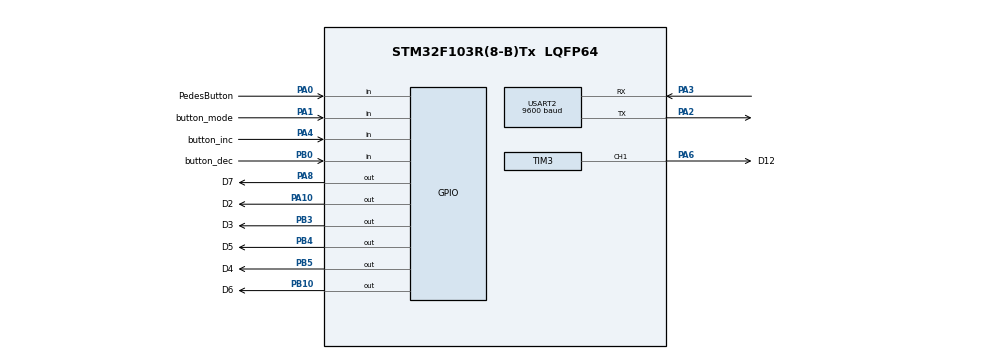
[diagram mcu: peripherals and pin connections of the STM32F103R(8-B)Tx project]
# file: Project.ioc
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Mcu.Family=STM32F1
Mcu.Name=STM32F103R(8-B)Tx
Mcu.Package=LQFP64
NVIC.PriorityGroup=NVIC_PRIORITYGROUP_4
NVIC.TIM2_IRQn=true\:0\:0\:false\:false\:true\:true\:true\:true
NVIC.USART2_IRQn=true\:0\:0\:false\:false\:true\:true\:true\:true
PA0-WKUP.GPIO_Label=PedesButton
PA0-WKUP.GPIO_PuPd=GPIO_PULLDOWN
PA0-WKUP.Signal=GPIO_Input
PA1.GPIO_Label=button_mode
PA1.GPIO_PuPd=GPIO_PULLDOWN
PA1.Signal=GPIO_Input
PA10.GPIO_Label=D2
PA10.Signal=GPIO_Output
PA13.Mode=Serial_Wire
PA13.Signal=SYS_JTMS-SWDIO
PA14.Mode=Serial_Wire
PA14.Signal=SYS_JTCK-SWCLK
PA2.Mode=Asynchronous
PA2.Signal=USART2_TX
PA3.Mode=Asynchronous
PA3.Signal=USART2_RX
PA4.GPIO_Label=button_inc
PA4.GPIO_PuPd=GPIO_PULLDOWN
PA4.Signal=GPIO_Input
PA6.GPIO_Label=D12
PA6.Signal=S_TIM3_CH1
PA8.GPIO_Label=D7
PA8.Signal=GPIO_Output
PB0.GPIO_Label=button_dec
PB0.GPIO_PuPd=GPIO_PULLDOWN
PB0.Signal=GPIO_Input
PB10.GPIO_Label=D6
PB10.Signal=GPIO_Output
PB3.GPIO_Label=D3
PB3.Signal=GPIO_Output
PB4.GPIO_Label=D5
PB4.Signal=GPIO_Output
PB5.GPIO_Label=D4
PB5.Signal=GPIO_Output
ProjectManager.HeapSize=0x200
ProjectManager.StackSize=0x400
ProjectManager.TargetToolchain=STM32CubeIDE
RCC.APB1Freq_Value=8000000
RCC.APB2Freq_Value=8000000
SH.S_TIM3_CH1.0=TIM3_CH1,PWM Generation1 CH1
TIM2.Period=9
TIM2.Prescaler=6399
TIM3.Channel-PWM\ Generation1\ CH1=TIM_CHANNEL_1
TIM3.Period=999
TIM3.Prescaler=63
USART2.BaudRate=9600
USART2.VirtualMode=VM_ASYNC
VP_TIM2_VS_ClockSourceINT.Mode=Internal
board=custom

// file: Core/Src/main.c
/* USER CODE BEGIN Header */
/**
  ******************************************************************************
  * @file           : main.c
  * @brief          : Main program body
  ******************************************************************************
  * @attention
  *
  * <h2><center>&copy; Copyright (c) 2022 STMicroelectronics.
  * All rights reserved.</center></h2>
  *
  * This software component is licensed by ST under BSD 3-Clause license,
  * the "License"; You may not use this file except in compliance with the
  * License. You may obtain a copy of the License at:
  *                        opensource.org/licenses/BSD-3-Clause
  *
  ******************************************************************************
  */
/* USER CODE END Header */
#include "main.h"

/* USER CODE BEGIN Includes */
#include "button.h"
#include "timer.h"
#include "fsm_button_processing.h"
#include "uart_communication_fsm.h"
#include "fsm_trafficlight.h"
/* USER CODE END Includes */

TIM_HandleTypeDef htim2;
TIM_HandleTypeDef htim3;
UART_HandleTypeDef huart2;

void SystemClock_Config(void);
static void MX_GPIO_Init(void);
static void MX_TIM2_Init(void);
static void MX_USART2_UART_Init(void);
static void MX_TIM3_Init(void);

/* USER CODE BEGIN 0 */
uint8_t buffer[MAX_BUFFER_SIZE];
uint8_t index_buffer = 0;
uint8_t buffer_flag = 0;
void HAL_UART_RxCpltCallback(UART_HandleTypeDef *huart)
{
	if (huart->Instance == USART2)
	{
		HAL_UART_Transmit(&huart2, &temp, 1, 50);
		buffer[index_buffer++] = temp;
		if (index_buffer == 30)
			index_buffer = 0;
		buffer_flag = 1;
		HAL_UART_Receive_IT(&huart2, &temp, 1);
	}
}
/* USER CODE END 0 */

int main(void)
{

  /* MCU Configuration--------------------------------------------------------*/

  /* Reset of all peripherals, Initializes the Flash interface and the Systick. */
  HAL_Init();

  /* Configure the system clock */
  SystemClock_Config();

  /* Initialize all configured peripherals */
  MX_GPIO_Init();
  MX_TIM2_Init();
  MX_USART2_UART_Init();
  MX_TIM3_Init();
  /* USER CODE BEGIN 2 */
  HAL_TIM_Base_Start_IT(&htim2);
  HAL_UART_Receive_IT(&huart2, &temp, 1);
  HAL_TIM_PWM_Start(&htim3, TIM_CHANNEL_1);
  int time[3] = {5000,2000,3000};
  /* USER CODE END 2 */

  /* Infinite loop */
  while (1)
  {
	  //	  traffic
	  //	  displayTraffic(time);
	  //	  traffic
	  //	  button + traffic
	  fsm_button_displayTraffic();
	  //	  button + traffic
	  //	  UART
	  //	  if (buffer_flag == 1){
	  //		  command_parser_fsm();
	  //		  buffer_flag = 0;
	  //	  }
	  //	  uart_communiation_fsm();
	  //	  UART
  }
}

void SystemClock_Config(void)
{
  RCC_OscInitTypeDef RCC_OscInitStruct = {0};
  RCC_ClkInitTypeDef RCC_ClkInitStruct = {0};

  /** Initializes the RCC Oscillators according to the specified parameters
  * in the RCC_OscInitTypeDef structure.
  */
  RCC_OscInitStruct.OscillatorType = RCC_OSCILLATORTYPE_HSI;
  RCC_OscInitStruct.HSIState = RCC_HSI_ON;
  RCC_OscInitStruct.HSICalibrationValue = RCC_HSICALIBRATION_DEFAULT;
  RCC_OscInitStruct.PLL.PLLState = RCC_PLL_NONE;
  if (HAL_RCC_OscConfig(&RCC_OscInitStruct) != HAL_OK)
  {
    Error_Handler();
  }

  /** Initializes the CPU, AHB and APB buses clocks
  */
  RCC_ClkInitStruct.ClockType = RCC_CLOCKTYPE_HCLK|RCC_CLOCKTYPE_SYSCLK
                              |RCC_CLOCKTYPE_PCLK1|RCC_CLOCKTYPE_PCLK2;
  RCC_ClkInitStruct.SYSCLKSource = RCC_SYSCLKSOURCE_HSI;
  RCC_ClkInitStruct.AHBCLKDivider = RCC_SYSCLK_DIV1;
  RCC_ClkInitStruct.APB1CLKDivider = RCC_HCLK_DIV1;
  RCC_ClkInitStruct.APB2CLKDivider = RCC_HCLK_DIV1;

  if (HAL_RCC_ClockConfig(&RCC_ClkInitStruct, FLASH_LATENCY_0) != HAL_OK)
  {
    Error_Handler();
  }
}

static void MX_TIM2_Init(void)
{

  TIM_ClockConfigTypeDef sClockSourceConfig = {0};
  TIM_MasterConfigTypeDef sMasterConfig = {0};

  htim2.Instance = TIM2;
  htim2.Init.Prescaler = 6399;
  htim2.Init.CounterMode = TIM_COUNTERMODE_UP;
  htim2.Init.Period = 9;
  htim2.Init.ClockDivision = TIM_CLOCKDIVISION_DIV1;
  htim2.Init.AutoReloadPreload = TIM_AUTORELOAD_PRELOAD_DISABLE;
  if (HAL_TIM_Base_Init(&htim2) != HAL_OK)
  {
    Error_Handler();
  }
  sClockSourceConfig.ClockSource = TIM_CLOCKSOURCE_INTERNAL;
  if (HAL_TIM_ConfigClockSource(&htim2, &sClockSourceConfig) != HAL_OK)
  {
    Error_Handler();
  }
  sMasterConfig.MasterOutputTrigger = TIM_TRGO_RESET;
  sMasterConfig.MasterSlaveMode = TIM_MASTERSLAVEMODE_DISABLE;
  if (HAL_TIMEx_MasterConfigSynchronization(&htim2, &sMasterConfig) != HAL_OK)
  {
    Error_Handler();
  }

}

static void MX_TIM3_Init(void)
{

  TIM_MasterConfigTypeDef sMasterConfig = {0};
  TIM_OC_InitTypeDef sConfigOC = {0};

  htim3.Instance = TIM3;
  htim3.Init.Prescaler = 63;
  htim3.Init.CounterMode = TIM_COUNTERMODE_UP;
  htim3.Init.Period = 999;
  htim3.Init.ClockDivision = TIM_CLOCKDIVISION_DIV1;
  htim3.Init.AutoReloadPreload = TIM_AUTORELOAD_PRELOAD_DISABLE;
  if (HAL_TIM_PWM_Init(&htim3) != HAL_OK)
  {
    Error_Handler();
  }
  sMasterConfig.MasterOutputTrigger = TIM_TRGO_RESET;
  sMasterConfig.MasterSlaveMode = TIM_MASTERSLAVEMODE_DISABLE;
  if (HAL_TIMEx_MasterConfigSynchronization(&htim3, &sMasterConfig) != HAL_OK)
  {
    Error_Handler();
  }
  sConfigOC.OCMode = TIM_OCMODE_PWM1;
  sConfigOC.Pulse = 0;
  sConfigOC.OCPolarity = TIM_OCPOLARITY_HIGH;
  sConfigOC.OCFastMode = TIM_OCFAST_DISABLE;
  if (HAL_TIM_PWM_ConfigChannel(&htim3, &sConfigOC, TIM_CHANNEL_1) != HAL_OK)
  {
    Error_Handler();
  }
  HAL_TIM_MspPostInit(&htim3);

}

static void MX_USART2_UART_Init(void)
{

  huart2.Instance = USART2;
  huart2.Init.BaudRate = 9600;
  huart2.Init.WordLength = UART_WORDLENGTH_8B;
  huart2.Init.StopBits = UART_STOPBITS_1;
  huart2.Init.Parity = UART_PARITY_NONE;
  huart2.Init.Mode = UART_MODE_TX_RX;
  huart2.Init.HwFlowCtl = UART_HWCONTROL_NONE;
  huart2.Init.OverSampling = UART_OVERSAMPLING_16;
  if (HAL_UART_Init(&huart2) != HAL_OK)
  {
    Error_Handler();
  }

}

static void MX_GPIO_Init(void)
{
  GPIO_InitTypeDef GPIO_InitStruct = {0};

  /* GPIO Ports Clock Enable */
  __HAL_RCC_GPIOA_CLK_ENABLE();
  __HAL_RCC_GPIOB_CLK_ENABLE();

  /*Configure GPIO pin Output Level */
  HAL_GPIO_WritePin(GPIOB, D6_Pin|D3_Pin|D5_Pin|D4_Pin, GPIO_PIN_RESET);

  /*Configure GPIO pin Output Level */
  HAL_GPIO_WritePin(GPIOA, D7_Pin|D2_Pin, GPIO_PIN_RESET);

  /*Configure GPIO pins : PedesButton_Pin button_mode_Pin button_inc_Pin */
  GPIO_InitStruct.Pin = PedesButton_Pin|button_mode_Pin|button_inc_Pin;
  GPIO_InitStruct.Mode = GPIO_MODE_INPUT;
  GPIO_InitStruct.Pull = GPIO_PULLDOWN;
  HAL_GPIO_Init(GPIOA, &GPIO_InitStruct);

  /*Configure GPIO pin : button_dec_Pin */
  GPIO_InitStruct.Pin = button_dec_Pin;
  GPIO_InitStruct.Mode = GPIO_MODE_INPUT;
  GPIO_InitStruct.Pull = GPIO_PULLDOWN;
  HAL_GPIO_Init(button_dec_GPIO_Port, &GPIO_InitStruct);

  /*Configure GPIO pins : D6_Pin D3_Pin D5_Pin D4_Pin */
  GPIO_InitStruct.Pin = D6_Pin|D3_Pin|D5_Pin|D4_Pin;
  GPIO_InitStruct.Mode = GPIO_MODE_OUTPUT_PP;
  GPIO_InitStruct.Pull = GPIO_NOPULL;
  GPIO_InitStruct.Speed = GPIO_SPEED_FREQ_LOW;
  HAL_GPIO_Init(GPIOB, &GPIO_InitStruct);

  /*Configure GPIO pins : D7_Pin D2_Pin */
  GPIO_InitStruct.Pin = D7_Pin|D2_Pin;
  GPIO_InitStruct.Mode = GPIO_MODE_OUTPUT_PP;
  GPIO_InitStruct.Pull = GPIO_NOPULL;
  GPIO_InitStruct.Speed = GPIO_SPEED_FREQ_LOW;
  HAL_GPIO_Init(GPIOA, &GPIO_InitStruct);

}

/* USER CODE BEGIN 4 */
int counter = 500;
void HAL_TIM_PeriodElapsedCallback(TIM_HandleTypeDef *htim)
{
	if (htim->Instance == TIM2)
	{
		for(int i = 0 ; i < NUMS_OF_TIMER; i++){
			timerRun(i);
		}
		buttonReading();
	}
}
/* USER CODE END 4 */

void Error_Handler(void)
{
  __disable_irq();
  while (1)
  {
  }
}
